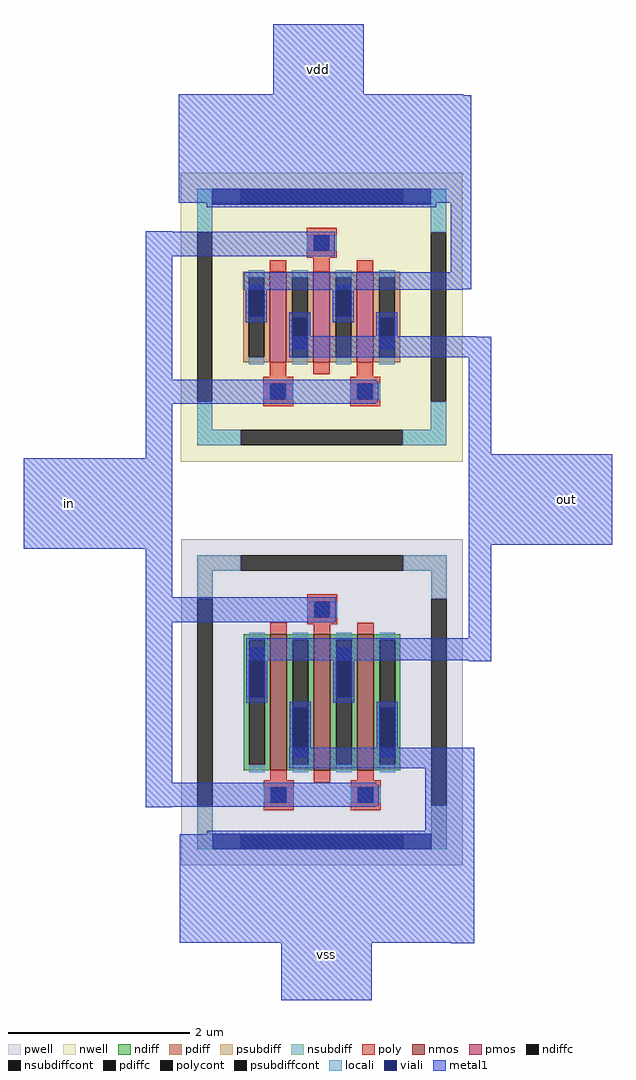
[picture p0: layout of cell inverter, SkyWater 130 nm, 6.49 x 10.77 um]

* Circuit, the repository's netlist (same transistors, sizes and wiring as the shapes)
** sch_path: /home/alexandra/inverter/xschem/inverter.sch
.subckt inverter vdd vss out in
*.PININFO vdd:B vss:B out:O in:I
M1 out in vss vss sky130_fd_pr__nfet_01v8 L=0.18 W=4.5 nf=3 m=1
M2 out in vdd sky130_fd_pr__pfet_01v8 L=0.18 W=3 nf=3 m=1
.ends
.end

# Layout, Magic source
magic
tech sky130A
magscale 1 2
<< metal1 >>
rect 150 2249 350 2404
rect -58 2247 570 2249
rect -58 2009 587 2247
rect -131 1946 -73 1947
rect -131 1891 286 1946
rect -131 1619 -73 1891
rect 542 1856 587 2009
rect 85 1819 587 1856
rect 85 1818 568 1819
rect 186 1714 598 1715
rect 186 1669 631 1714
rect -131 1566 378 1619
rect -131 1446 -73 1566
rect -400 1246 -73 1446
rect -131 1139 -73 1246
rect 582 1455 631 1669
rect 582 1255 898 1455
rect -131 1084 288 1139
rect -131 729 -73 1084
rect 582 1048 631 1255
rect 91 1000 631 1048
rect 582 998 631 1000
rect 185 761 594 807
rect -131 676 378 729
rect -131 675 -73 676
rect 486 616 594 761
rect -56 376 594 616
rect 168 250 368 376
rect 543 375 594 376
use sky130_fd_pr__nfet_01v8_BZBQCZ  M1
transform 1 0 258 0 1 907
box -311 -360 311 360
use sky130_fd_pr__pfet_01v8_UTJXZH  M2
transform 1 0 257 0 1 1757
box -311 -319 311 319
<< labels >>
flabel metal1 150 2204 350 2404 0 FreeSans 256 0 0 0 vdd
port 0 nsew
flabel metal1 168 250 368 450 0 FreeSans 256 0 0 0 vss
port 1 nsew
flabel metal1 698 1255 898 1455 0 FreeSans 256 0 0 0 out
port 2 nsew
flabel metal1 -400 1246 -200 1446 0 FreeSans 256 0 0 0 in
port 3 nsew
<< end >>

# cell sky130_fd_pr__nfet_01v8_BZBQCZ: kit device sky130_fd_pr__nfet_01v8, w 1.5 l 0.18 m 1 nf 3 diffcov 100 polycov 100 guard 1 glc 1 grc 1 gtc 1 gbc 1 tbcov 100 rlcov 100 topc 1 botc 1 poverlap 0 doverlap 1 lmin 0.15 wmin 0.42 compatible {sky130_fd_pr__nfet_01v8 sky130_fd_pr__nfet_01v8_lvt sky130_fd_bs_flash__special_sonosfet_star sky130_fd_pr__nfet_g5v0d10v5 sky130_fd_pr__nfet_05v0_nvt sky130_fd_pr__nfet_03v3_nvt} full_metal 1 viasrc +40 viadrn -40 viagate 100 viagb 100 viagr 0 viagl 0 viagt 0

# cell sky130_fd_pr__pfet_01v8_UTJXZH: kit device sky130_fd_pr__pfet_01v8, w 1.0 l 0.18 m 1 nf 3 diffcov 100 polycov 100 guard 1 glc 1 grc 1 gtc 1 gbc 1 tbcov 100 rlcov 100 topc 1 botc 1 poverlap 0 doverlap 1 lmin 0.15 wmin 0.42 compatible {sky130_fd_pr__pfet_01v8 sky130_fd_pr__pfet_01v8_lvt sky130_fd_pr__pfet_01v8_hvt sky130_fd_pr__pfet_g5v0d10v5} full_metal 1 viasrc +40 viadrn -40 viagate 100 viagb 0 viagr 0 viagl 0 viagt 100
